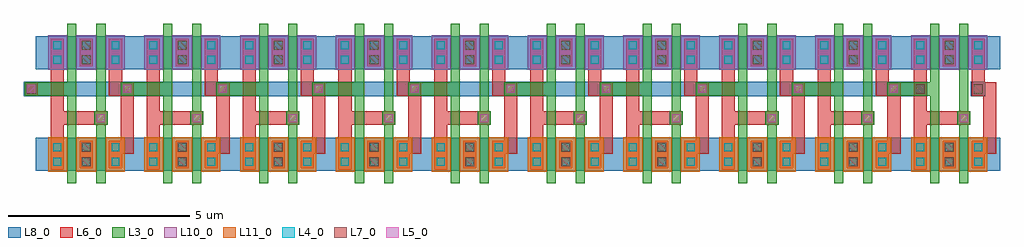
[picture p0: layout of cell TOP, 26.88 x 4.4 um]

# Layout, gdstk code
import gdstk
lib = gdstk.Library(unit=1e-6, precision=1e-09)
def R(c, l, rs):  # rectangles x0, y0, x1, y1
    for r in rs: c.add(gdstk.rectangle(r[:2], r[2:], *l))
def P(c, l, *ps):  # polygons
    for p in ps: c.add(gdstk.Polygon(p, *l))
L3_0 = (3, 0)
L4_0 = (4, 0)
L5_0 = (5, 0)
L6_0 = (6, 0)
L7_0 = (7, 0)
L8_0 = (8, 0)
L10_0 = (10, 0)
L11_0 = (11, 0)

trans = lib.new_cell('TRANS')

d_pmos = lib.new_cell('D$PMOS')

d_pmos_1 = lib.new_cell('D$PMOS$1')

d_nmos = lib.new_cell('D$NMOS')

d_nmos_1 = lib.new_cell('D$NMOS$1')

inv2 = lib.new_cell('INV2')
inv2.add(gdstk.Reference(trans, (-0.4,0)))
inv2.add(gdstk.Reference(trans, (-0.4,2.8)))
inv2.add(gdstk.Reference(trans, (0.4,0), x_reflection=True))
inv2.add(gdstk.Reference(trans, (0.4,2.8), x_reflection=True))
inv2.add(gdstk.Reference(d_pmos, (-0.4,2.8)))
inv2.add(gdstk.Reference(d_pmos_1, (0.4,2.8)))
inv2.add(gdstk.Reference(d_nmos, (-0.4,0)))
inv2.add(gdstk.Reference(d_nmos_1, (0.4,0)))

circuit_trans = lib.new_cell('CIRCUIT_TRANS')
R(circuit_trans, L3_0, [(-0.125,-0.8,0.125,0.8)])

circuit_trans_1 = lib.new_cell('CIRCUIT_TRANS$1')
R(circuit_trans_1, L4_0, [(-0.51,-0.31,-0.29,-0.09), (-0.51,0.09,-0.29,0.31)])
R(circuit_trans_1, L6_0, [(-0.58,-0.38,-0.22,0.38)])

circuit_inv2 = lib.new_cell('CIRCUIT_INV2')
R(circuit_inv2, L3_0, [(0.275,-0.25,0.525,2.25), (0.22,0.82,0.58,1.18)])
R(circuit_inv2, L5_0, [(0.29,0.89,0.51,1.11)])
R(circuit_inv2, L6_0, [(-0.98,-0.42,-0.62,2.42), (-0.8,0.82,0.58,1.18)])
R(circuit_inv2, L10_0, [(-1.05,2.325,-0.525,3.275)])
R(circuit_inv2, L11_0, [(-1.05,-0.475,-0.525,0.475)])
circuit_inv2.add(gdstk.Reference(circuit_trans, (0.4,2.8), x_reflection=True))
circuit_inv2.add(gdstk.Reference(circuit_trans, (0.4,0), x_reflection=True))
circuit_inv2.add(gdstk.Reference(circuit_trans_1, (-0.4,2.8)))
circuit_inv2.add(gdstk.Reference(circuit_trans_1, (-0.4,0)))

circuit_inv2_1 = lib.new_cell('CIRCUIT_INV2$1')
R(circuit_inv2_1, L3_0, [(-0.525,-0.25,-0.275,2.25), (-1.7,1.62,-0.4,1.98)])
R(circuit_inv2_1, L5_0, [(-1.63,1.69,-1.41,1.91)])
circuit_inv2_1.add(gdstk.Reference(circuit_trans, (-0.4,0)))
circuit_inv2_1.add(gdstk.Reference(circuit_trans, (-0.4,2.8)))

circuit_trans_2 = lib.new_cell('CIRCUIT_TRANS$2')
R(circuit_trans_2, L4_0, [(0.29,-0.31,0.51,-0.09), (0.29,0.09,0.51,0.31)])
R(circuit_trans_2, L6_0, [(0.22,-0.38,0.58,0.38)])

circuit_inv2_2 = lib.new_cell('CIRCUIT_INV2$2')
P(circuit_inv2_2, L6_0, [(0.8,0.02),(0.8,0.38),(0.94,0.38),(0.94,1.62),(0.62,1.62),(0.62,2.42),(0.98,2.42),(0.98,1.98),(1.3,1.98),(1.3,0.02)])
R(circuit_inv2_2, L10_0, [(0.525,2.325,1.05,3.275)])
R(circuit_inv2_2, L11_0, [(0.525,-0.475,1.05,0.475)])
circuit_inv2_2.add(gdstk.Reference(circuit_trans_2, (0.4,2.8), x_reflection=True))
circuit_inv2_2.add(gdstk.Reference(circuit_trans_2, (0.4,0), x_reflection=True))

circuit_inv2_3 = lib.new_cell('CIRCUIT_INV2$3')
R(circuit_inv2_3, L7_0, [(-0.125,-0.325,0.125,-0.075), (-0.125,0.075,0.125,0.325)])
R(circuit_inv2_3, L8_0, [(-1.4,-0.45,1.4,0.45)])
R(circuit_inv2_3, L11_0, [(-0.275,-0.475,0.275,0.475)])
circuit_inv2_3.add(gdstk.Reference(circuit_trans_2, (-0.4,0)))
circuit_inv2_3.add(gdstk.Reference(circuit_trans_1, (0.4,0), x_reflection=True))

circuit_inv2_4 = lib.new_cell('CIRCUIT_INV2$4')
R(circuit_inv2_4, L7_0, [(-0.125,2.475,0.125,2.725), (-0.125,2.875,0.125,3.125)])
R(circuit_inv2_4, L8_0, [(-1.4,2.35,1.4,3.25)])
R(circuit_inv2_4, L10_0, [(-0.275,2.325,0.275,3.275)])
circuit_inv2_4.add(gdstk.Reference(circuit_trans_2, (-0.4,2.8)))
circuit_inv2_4.add(gdstk.Reference(circuit_trans_1, (0.4,2.8), x_reflection=True))

top = lib.new_cell('TOP')
R(top, L6_0, [(-1.7,1.62,-1.34,1.98)])
R(top, L7_0, [(-1.645,1.675,-1.395,1.925), (22.835,1.675,23.085,1.925), (24.435,1.675,24.685,1.925)])
R(top, L8_0, [(-1.72,1.6,23.16,2), (24.36,1.6,24.76,2)])
top.add(gdstk.Reference(inv2, (0,0)))
top.add(gdstk.Reference(inv2, (2.64,0)))
top.add(gdstk.Reference(inv2, (5.28,0)))
top.add(gdstk.Reference(inv2, (7.92,0)))
top.add(gdstk.Reference(inv2, (10.56,0)))
top.add(gdstk.Reference(inv2, (13.2,0)))
top.add(gdstk.Reference(inv2, (15.84,0)))
top.add(gdstk.Reference(inv2, (18.48,0)))
top.add(gdstk.Reference(inv2, (21.12,0)))
top.add(gdstk.Reference(inv2, (23.76,0)))
top.add(gdstk.Reference(circuit_inv2, (23.76,0)))
top.add(gdstk.Reference(circuit_inv2_1, (0,0)))
top.add(gdstk.Reference(circuit_inv2_2, (23.76,0)))
top.add(gdstk.Reference(circuit_inv2_3, (2.64,0)))
top.add(gdstk.Reference(circuit_inv2_3, (0,0)))
top.add(gdstk.Reference(circuit_inv2_3, (5.28,0)))
top.add(gdstk.Reference(circuit_inv2_3, (7.92,0)))
top.add(gdstk.Reference(circuit_inv2_3, (10.56,0)))
top.add(gdstk.Reference(circuit_inv2_3, (13.2,0)))
top.add(gdstk.Reference(circuit_inv2_3, (15.84,0)))
top.add(gdstk.Reference(circuit_inv2_3, (18.48,0)))
top.add(gdstk.Reference(circuit_inv2_3, (21.12,0)))
top.add(gdstk.Reference(circuit_inv2_3, (23.76,0)))
top.add(gdstk.Reference(circuit_inv2_4, (2.64,0)))
top.add(gdstk.Reference(circuit_inv2_4, (0,0)))
top.add(gdstk.Reference(circuit_inv2_4, (5.28,0)))
top.add(gdstk.Reference(circuit_inv2_4, (7.92,0)))
top.add(gdstk.Reference(circuit_inv2_4, (10.56,0)))
top.add(gdstk.Reference(circuit_inv2_4, (13.2,0)))
top.add(gdstk.Reference(circuit_inv2_4, (15.84,0)))
top.add(gdstk.Reference(circuit_inv2_4, (18.48,0)))
top.add(gdstk.Reference(circuit_inv2_4, (21.12,0)))
top.add(gdstk.Reference(circuit_inv2_4, (23.76,0)))
top.add(gdstk.Reference(circuit_inv2, (21.12,0)))
top.add(gdstk.Reference(circuit_inv2, (18.48,0)))
top.add(gdstk.Reference(circuit_inv2, (15.84,0)))
top.add(gdstk.Reference(circuit_inv2, (13.2,0)))
top.add(gdstk.Reference(circuit_inv2, (10.56,0)))
top.add(gdstk.Reference(circuit_inv2, (7.92,0)))
top.add(gdstk.Reference(circuit_inv2, (5.28,0)))
top.add(gdstk.Reference(circuit_inv2, (2.64,0)))
top.add(gdstk.Reference(circuit_inv2, (0,0)))
top.add(gdstk.Reference(circuit_inv2_2, (0,0)))
top.add(gdstk.Reference(circuit_inv2_1, (2.64,0)))
top.add(gdstk.Reference(circuit_inv2_2, (21.12,0)))
top.add(gdstk.Reference(circuit_inv2_1, (23.76,0)))
top.add(gdstk.Reference(circuit_inv2_2, (18.48,0)))
top.add(gdstk.Reference(circuit_inv2_1, (21.12,0)))
top.add(gdstk.Reference(circuit_inv2_2, (15.84,0)))
top.add(gdstk.Reference(circuit_inv2_1, (18.48,0)))
top.add(gdstk.Reference(circuit_inv2_2, (13.2,0)))
top.add(gdstk.Reference(circuit_inv2_1, (15.84,0)))
top.add(gdstk.Reference(circuit_inv2_2, (10.56,0)))
top.add(gdstk.Reference(circuit_inv2_1, (13.2,0)))
top.add(gdstk.Reference(circuit_inv2_2, (7.92,0)))
top.add(gdstk.Reference(circuit_inv2_1, (10.56,0)))
top.add(gdstk.Reference(circuit_inv2_2, (5.28,0)))
top.add(gdstk.Reference(circuit_inv2_1, (7.92,0)))
top.add(gdstk.Reference(circuit_inv2_2, (2.64,0)))
top.add(gdstk.Reference(circuit_inv2_1, (5.28,0)))

lib.write_gds('TOP.gds')
